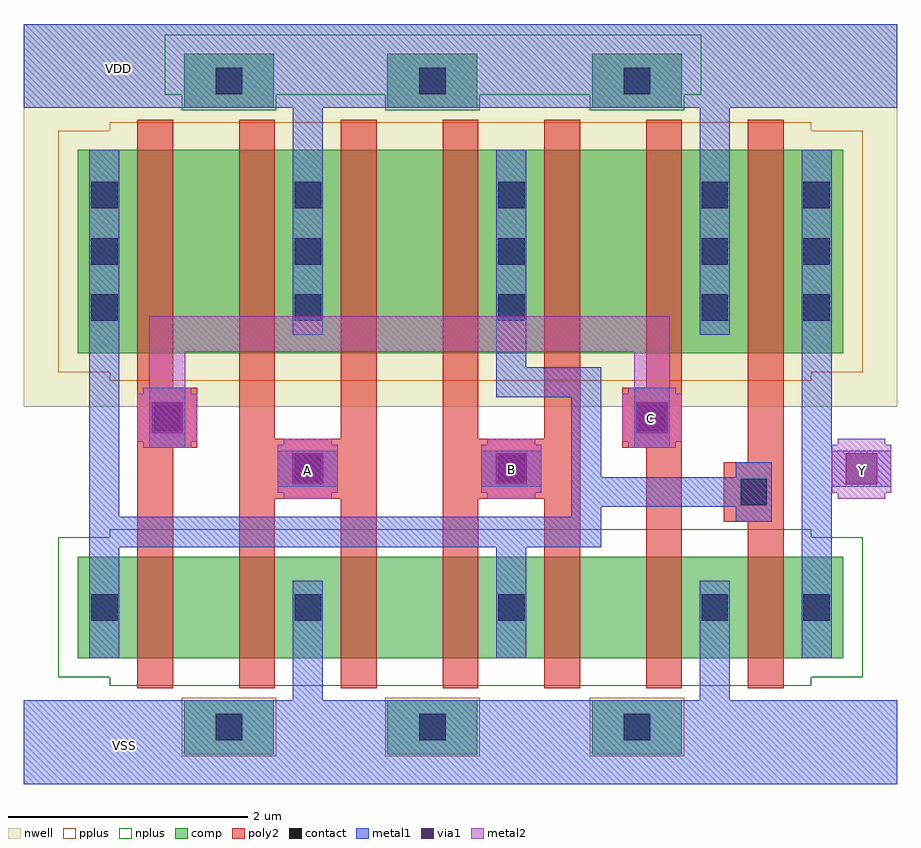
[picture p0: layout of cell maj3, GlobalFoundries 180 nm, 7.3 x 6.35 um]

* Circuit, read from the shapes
.subckt maj3 A B C VDD VSS Y
XM1 n1 C n2 VSS nfet_03v3 w=0.85u l=0.3u
XM2 VSS A n1 VSS nfet_03v3 w=0.85u l=0.3u
XM3 n3 A VSS VSS nfet_03v3 w=0.85u l=0.3u
XM4 n2 B n3 VSS nfet_03v3 w=0.85u l=0.3u
XM5 n4 B n2 VSS nfet_03v3 w=0.85u l=0.3u
XM6 VSS C n4 VSS nfet_03v3 w=0.85u l=0.3u
XM7 Y n2 VSS VSS nfet_03v3 w=0.85u l=0.3u
XM8 n5 C n2 VDD pfet_03v3 w=1.7u l=0.3u
XM9 VDD A n5 VDD pfet_03v3 w=1.7u l=0.3u
XM10 n6 A VDD VDD pfet_03v3 w=1.7u l=0.3u
XM11 n2 B n6 VDD pfet_03v3 w=1.7u l=0.3u
XM12 n7 B n2 VDD pfet_03v3 w=1.7u l=0.3u
XM13 VDD C n7 VDD pfet_03v3 w=1.7u l=0.3u
XM14 Y n2 VDD VDD pfet_03v3 w=1.7u l=0.3u
.ends

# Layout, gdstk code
import gdstk
lib = gdstk.Library(unit=1e-6, precision=1e-09)
def R(c, l, rs):  # rectangles x0, y0, x1, y1
    for r in rs: c.add(gdstk.rectangle(r[:2], r[2:], *l))
def A(c, l, x, y, w, h, nx, ny, dx, dy):  # array of equal rectangles
    R(c, l, [(x+i*dx, y+j*dy, x+i*dx+w, y+j*dy+h) for i in range(nx) for j in range(ny)])
def P(c, l, *ps):  # polygons
    for p in ps: c.add(gdstk.Polygon(p, *l))
nwell = (21, 0)
comp = (22, 0)
poly2 = (30, 0)
pplus = (31, 0)
nplus = (32, 0)
contact = (33, 0)
metal1 = (34, 0)
via1 = (35, 0)
metal2 = (36, 0)

maj3 = lib.new_cell('maj3')
R(maj3, nwell, [(-1.22,-1.495,6.08,1.705)])
R(maj3, comp, [(0.12,-4.395,0.87,-3.945), (1.82,-4.395,2.57,-3.945), (3.53,-4.395,4.28,-3.945), (-0.77,-3.595,5.63,-2.745), (-0.77,-1.045,5.63,0.655), (0.12,1.005,0.87,1.455), (1.82,1.005,2.57,1.455), (3.53,1.005,4.28,1.455)])
A(maj3, poly2, -0.27, -3.845, 0.3, 4.75, 7, 1, 0.85, 0)
R(maj3, poly2, [(4.63,-2.455,4.83,-1.955), (0.88,-2.26,1.43,-1.76), (2.58,-2.26,3.13,-1.76), (0.03,-1.835,0.23,-1.335), (3.78,-1.835,3.98,-1.335)])
R(maj3, pplus, [(0.1,-4.415,0.89,-3.925), (1.8,-4.415,2.59,-3.925), (3.51,-4.415,4.3,-3.925), (-0.5,-1.275,5.36,-1.205), (-0.93,-1.205,5.79,0.815), (-0.5,0.815,5.36,0.885)])
R(maj3, nplus, [(-0.5,-3.825,5.36,-3.755), (-0.93,-3.755,5.79,-2.585), (-0.5,-2.585,5.36,-2.515), (0.1,0.985,0.89,1.475), (1.8,0.985,2.59,1.475), (3.51,0.985,4.3,1.475), (-0.04,1.115,4.44,1.615)])
A(maj3, contact, -0.655, -3.28, 0.22, 0.22, 4, 2, 1.7, 2.505)
A(maj3, contact, 5.295, -0.775, 0.22, 0.22, 1, 3, 0, 0.47)
A(maj3, contact, -0.655, -0.305, 0.22, 0.22, 4, 2, 1.7, 0.47)
R(maj3, contact, [(0.385,-4.28,0.605,-4.06), (2.085,-4.28,2.305,-4.06), (3.795,-4.28,4.015,-4.06), (5.295,-3.28,5.515,-3.06), (4.77,-2.315,4.99,-2.095), (1.045,-2.12,1.265,-1.9), (2.745,-2.12,2.965,-1.9), (-0.13,-1.695,0.09,-1.475), (3.92,-1.695,4.14,-1.475), (0.385,1.12,0.605,1.34), (2.085,1.12,2.305,1.34), (3.795,1.12,4.015,1.34)])
R(maj3, metal1, [(-1.22,-4.645,6.08,-3.945), (1.03,-3.945,1.28,-2.945), (4.43,-3.945,4.68,-2.945), (-0.67,-3.595,-0.42,0.655), (5.28,-3.595,5.53,0.655), (4.73,-2.455,5.03,-1.955), (3.605,-2.33,4.77,-2.08), (0.905,-2.16,1.405,-1.86), (2.605,-2.16,3.105,-1.86), (5.53,-2.16,6.03,-1.86), (-0.17,-1.835,0.13,-1.335), (3.88,-1.835,4.18,-1.335), (1.03,-0.89,1.28,1.005), (4.43,-0.89,4.68,1.005), (-1.22,1.005,6.08,1.705)])
P(maj3, metal1, [(2.73,-3.595),(2.73,-2.665),(-0.42,-2.665),(-0.42,-2.41),(3.355,-2.41),(3.355,-1.415),(2.73,-1.415),(2.73,0.655),(2.98,0.655),(2.98,-1.165),(3.605,-1.165),(3.605,-2.41),(3.605,-2.665),(2.98,-2.665),(2.98,-3.595)])
R(maj3, via1, [(1.025,-2.14,1.285,-1.88), (2.725,-2.14,2.985,-1.88), (5.65,-2.14,5.91,-1.88), (-0.15,-1.715,0.11,-1.455), (3.9,-1.715,4.16,-1.455)])
R(maj3, metal2, [(0.955,-2.26,1.355,-1.76), (0.955,-2.26,1.355,-1.76), (2.655,-2.26,3.055,-1.76), (5.58,-2.26,5.98,-1.76), (0.905,-2.21,1.405,-1.81), (0.905,-2.21,1.405,-1.81), (2.605,-2.21,3.105,-1.81), (5.53,-2.21,6.03,-1.81), (-0.22,-1.835,0.18,-1.335), (3.83,-1.835,4.23,-1.335), (-0.27,-1.785,0.23,-1.385), (3.78,-1.785,4.28,-1.385), (-0.17,-1.335,0.13,-0.735), (3.88,-1.335,4.18,-1.035), (0.13,-1.035,4.18,-0.735)])
maj3.add(gdstk.Label('VDD', (-0.43,1.335), layer=34, texttype=10))
maj3.add(gdstk.Label('VSS', (-0.38,-4.325), layer=34, texttype=10))
maj3.add(gdstk.Label('A', (1.155,-2.025), layer=36, texttype=10))
maj3.add(gdstk.Label('B', (2.86,-2.015), layer=36, texttype=10))
maj3.add(gdstk.Label('C', (4.02,-1.595), layer=36, texttype=10))
maj3.add(gdstk.Label('Y', (5.785,-2.025), layer=36, texttype=10))

lib.write_gds('maj3.gds')
